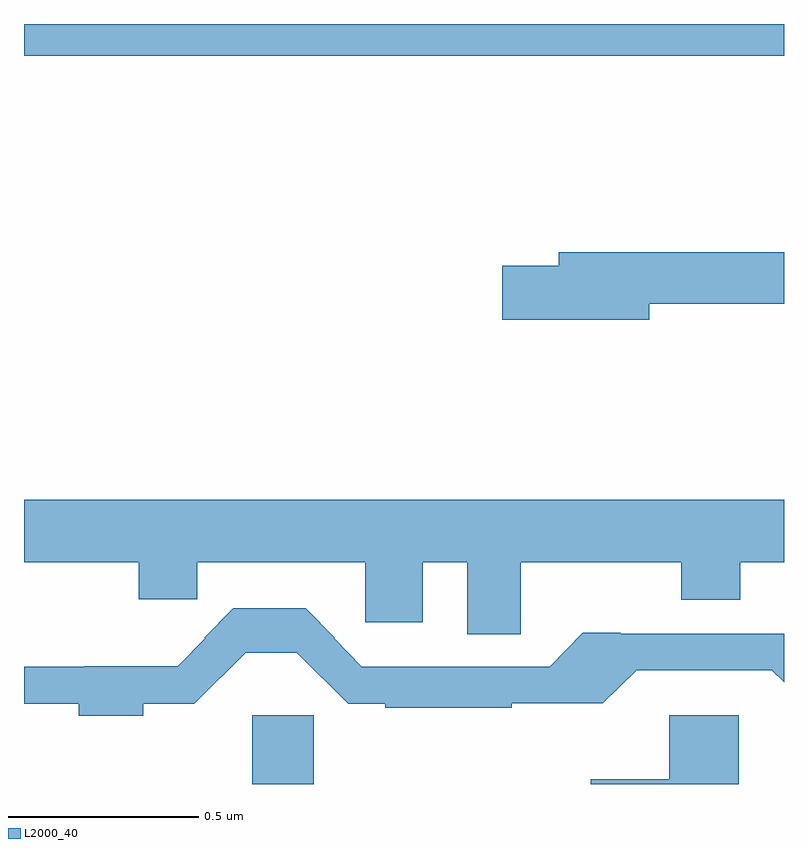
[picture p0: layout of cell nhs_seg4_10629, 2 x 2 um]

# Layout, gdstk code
import gdstk
lib = gdstk.Library(unit=1e-6, precision=1e-09)
def R(c, l, rs):  # rectangles x0, y0, x1, y1
    for r in rs: c.add(gdstk.rectangle(r[:2], r[2:], *l))
def P(c, l, *ps):  # polygons
    for p in ps: c.add(gdstk.Polygon(p, *l))
L2000_40 = (2000, 40)

nhs_seg4_10629 = lib.new_cell('nhs_seg4_10629')
R(nhs_seg4_10629, L2000_40, [(242.6,798.9,242.762,799.081), (242,800.816,244,800.9)])
P(nhs_seg4_10629, L2000_40, [(243.646,800.164),(244,800.164),(244,800.3),(243.407,800.3),(243.407,800.264),(243.258,800.264),(243.258,800.122),(243.646,800.122)],
  [(243.307,799.484),(243.73,799.484),(243.73,799.385),(243.885,799.385),(243.885,799.484),(244,799.484),(244,799.648),(242,799.648),(242,799.484),(242.302,799.484),(242.302,799.386),(242.456,799.386),(242.456,799.484),(242.898,799.484),(242.898,799.326),(243.049,799.326),(243.049,799.484),(243.167,799.484),(243.167,799.294),(243.307,799.294)],
  [(242.314,799.111),(242.448,799.111),(242.583,799.245),(242.718,799.245),(242.853,799.111),(242.95,799.111),(242.95,799.101),(243.284,799.101),(243.284,799.112),(243.523,799.112),(243.612,799.2),(243.968,799.2),(244,799.168),(244,799.296),(243.571,799.296),(243.571,799.298),(243.471,799.298),(243.383,799.209),(242.889,799.209),(242.816,799.283),(242.818,799.285),(242.741,799.363),(242.551,799.363),(242.474,799.285),(242.477,799.283),(242.404,799.21),(242.16,799.21),(242.16,799.209),(242,799.209),(242,799.111),(242.144,799.111),(242.144,799.079),(242.314,799.079)],
  [(243.881,799.081),(243.698,799.081),(243.698,798.913),(243.492,798.913),(243.492,798.9),(243.881,798.9)])

lib.write_gds('nhs_seg4_10629.gds')
